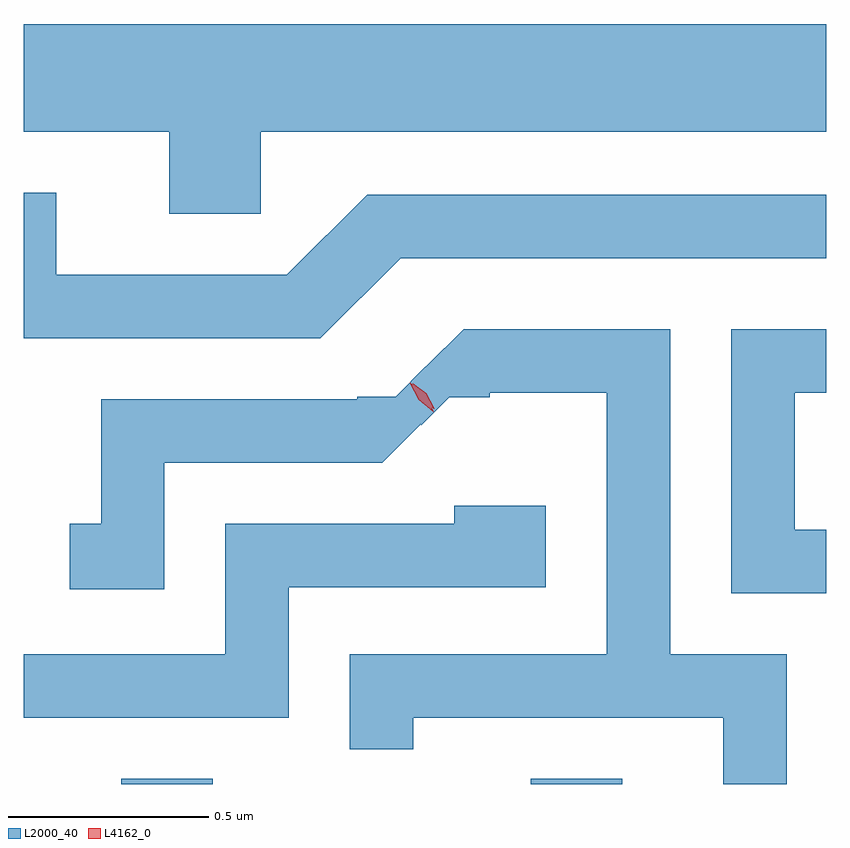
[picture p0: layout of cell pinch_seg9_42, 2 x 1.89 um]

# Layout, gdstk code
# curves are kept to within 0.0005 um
import gdstk
lib = gdstk.Library(unit=1e-6, precision=1e-09)
def R(c, l, rs):  # rectangles x0, y0, x1, y1
    for r in rs: c.add(gdstk.rectangle(r[:2], r[2:], *l))
def P(c, l, *ps):  # polygons
    for p in ps: c.add(gdstk.Polygon(p, *l))
L2000_40 = (2000, 40)
L4162_0 = (4162, 0)

pinch_seg9_42 = lib.new_cell('pinch_seg9_42')
R(pinch_seg9_42, L2000_40, [(851.301,1981.311,851.529,1981.324), (852.321,1981.311,852.549,1981.324)])
P(pinch_seg9_42, L2000_40, [(851.649,1982.936),(853.058,1982.936),(853.058,1983.204),(851.058,1983.204),(851.058,1982.936),(851.421,1982.936),(851.421,1982.731),(851.649,1982.731)],
  [(851.997,1982.621),(853.058,1982.621),(853.058,1982.779),(851.914,1982.779),(851.714,1982.579),(851.139,1982.579),(851.139,1982.784),(851.058,1982.784),(851.058,1982.421),(851.797,1982.421)],
  [(853.058,1981.944),(852.979,1981.944),(852.979,1982.286),(853.058,1982.286),(853.058,1982.444),(852.821,1982.444),(852.821,1981.786),(853.058,1981.786)],
  [(852.959,1981.634),(852.669,1981.634),(852.669,1982.444),(852.154,1982.444),(851.985,1982.276),(851.889,1982.276),(851.889,1982.269),(851.251,1982.269),(851.251,1981.959),(851.173,1981.959),(851.173,1981.796),(851.409,1981.796),(851.409,1982.111),(851.952,1982.111),(852.048,1982.207),(852.049,1982.205),(852.119,1982.274),(852.219,1982.274),(852.219,1982.286),(852.511,1982.286),(852.511,1981.634),(851.871,1981.634),(851.871,1981.398),(852.029,1981.398),(852.029,1981.476),(852.801,1981.476),(852.801,1981.311),(852.959,1981.311)],
  [(851.719,1981.801),(852.359,1981.801),(852.359,1982.004),(852.131,1982.004),(852.131,1981.959),(851.561,1981.959),(851.561,1981.634),(851.058,1981.634),(851.058,1981.476),(851.719,1981.476)])
P(pinch_seg9_42, L4162_0, [(852.079,1982.238),(852.042,1982.268),(852.02,1982.31),(852.02,1982.311),(852.021,1982.311),(852.057,1982.28),(852.08,1982.238),(852.08,1982.238)],
  [(852.08,1982.246),(852.046,1982.271),(852.027,1982.309),(852.027,1982.309),(852.028,1982.309),(852.061,1982.284),(852.081,1982.247),(852.081,1982.246)])

lib.write_gds('pinch_seg9_42.gds')
